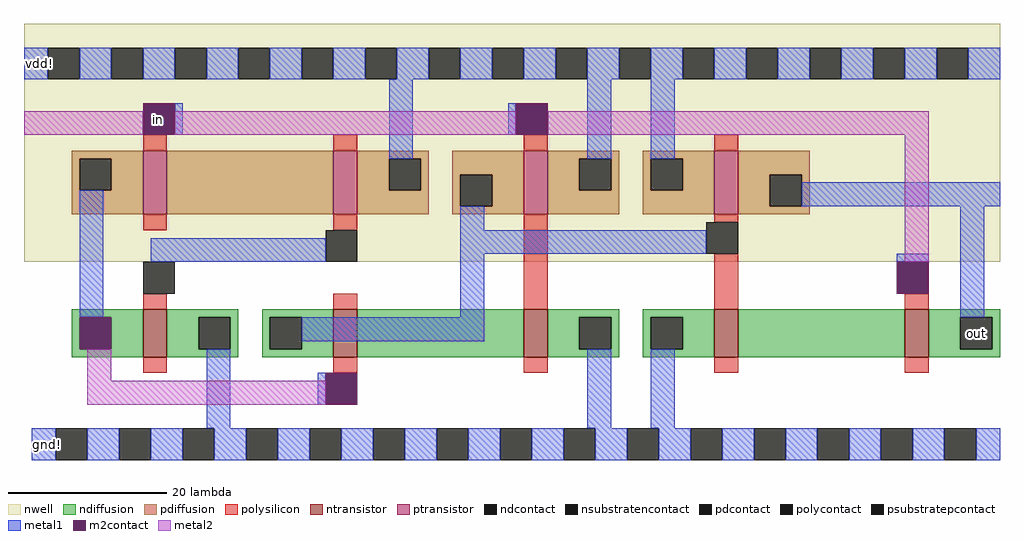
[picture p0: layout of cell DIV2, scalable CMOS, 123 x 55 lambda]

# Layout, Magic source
magic
tech scmos
<< nwell >>
rect -11 -3 112 27
<< ntransistor >>
rect 4 -15 7 -9
rect 28 -15 31 -9
rect 52 -15 55 -9
rect 76 -15 79 -9
rect 100 -15 103 -9
<< ptransistor >>
rect 4 3 7 11
rect 28 3 31 11
rect 52 3 55 11
rect 76 3 79 11
<< ndiffusion >>
rect -5 -10 4 -9
rect -5 -14 -4 -10
rect 0 -14 4 -10
rect -5 -15 4 -14
rect 7 -10 16 -9
rect 7 -14 11 -10
rect 15 -14 16 -10
rect 7 -15 16 -14
rect 19 -10 28 -9
rect 19 -14 20 -10
rect 24 -14 28 -10
rect 19 -15 28 -14
rect 31 -15 52 -9
rect 55 -10 64 -9
rect 55 -14 59 -10
rect 63 -14 64 -10
rect 55 -15 64 -14
rect 67 -10 76 -9
rect 67 -14 68 -10
rect 72 -14 76 -10
rect 67 -15 76 -14
rect 79 -15 100 -9
rect 103 -10 112 -9
rect 103 -14 107 -10
rect 111 -14 112 -10
rect 103 -15 112 -14
<< pdiffusion >>
rect -5 10 4 11
rect -5 6 -4 10
rect 0 6 4 10
rect -5 3 4 6
rect 7 3 28 11
rect 31 10 40 11
rect 31 6 35 10
rect 39 6 40 10
rect 31 3 40 6
rect 43 8 52 11
rect 43 4 44 8
rect 48 4 52 8
rect 43 3 52 4
rect 55 10 64 11
rect 55 6 59 10
rect 63 6 64 10
rect 55 3 64 6
rect 67 10 76 11
rect 67 6 68 10
rect 72 6 76 10
rect 67 3 76 6
rect 79 8 88 11
rect 79 4 83 8
rect 87 4 88 8
rect 79 3 88 4
<< ndcontact >>
rect -4 -14 0 -10
rect 11 -14 15 -10
rect 20 -14 24 -10
rect 59 -14 63 -10
rect 68 -14 72 -10
rect 107 -14 111 -10
<< pdcontact >>
rect -4 6 0 10
rect 35 6 39 10
rect 44 4 48 8
rect 59 6 63 10
rect 68 6 72 10
rect 83 4 87 8
<< psubstratepcontact >>
rect -7 -28 -3 -24
rect 1 -28 5 -24
rect 9 -28 13 -24
rect 17 -28 21 -24
rect 25 -28 29 -24
rect 33 -28 37 -24
rect 41 -28 45 -24
rect 49 -28 53 -24
rect 57 -28 61 -24
rect 65 -28 69 -24
rect 73 -28 77 -24
rect 81 -28 85 -24
rect 89 -28 93 -24
rect 97 -28 101 -24
rect 105 -28 109 -24
<< nsubstratencontact >>
rect -8 20 -4 24
rect 0 20 4 24
rect 8 20 12 24
rect 16 20 20 24
rect 24 20 28 24
rect 32 20 36 24
rect 40 20 44 24
rect 48 20 52 24
rect 56 20 60 24
rect 64 20 68 24
rect 72 20 76 24
rect 80 20 84 24
rect 88 20 92 24
rect 96 20 100 24
rect 104 20 108 24
<< polysilicon >>
rect 4 11 7 13
rect 28 11 31 13
rect 52 11 55 13
rect 76 11 79 13
rect 4 1 7 3
rect 28 1 31 3
rect 4 -9 7 -7
rect 28 -9 31 -7
rect 52 -9 55 3
rect 76 2 79 3
rect 76 -9 79 -2
rect 100 -9 103 -7
rect 4 -17 7 -15
rect 28 -17 31 -15
rect 52 -17 55 -15
rect 76 -17 79 -15
rect 100 -17 103 -15
<< polycontact >>
rect 4 13 8 17
rect 51 13 55 17
rect 27 -3 31 1
rect 4 -7 8 -3
rect 75 -2 79 2
rect 99 -7 103 -3
rect 27 -21 31 -17
<< metal1 >>
rect -11 20 -8 24
rect -4 20 0 24
rect 4 20 8 24
rect 12 20 16 24
rect 20 20 24 24
rect 28 20 32 24
rect 36 20 40 24
rect 44 20 48 24
rect 52 20 56 24
rect 60 20 64 24
rect 68 20 72 24
rect 76 20 80 24
rect 84 20 88 24
rect 92 20 96 24
rect 100 20 104 24
rect 108 20 112 24
rect 8 13 9 17
rect 35 10 38 20
rect 50 13 51 17
rect 60 10 63 20
rect -4 -10 -1 6
rect 68 10 71 20
rect 87 4 112 7
rect 44 1 47 4
rect 5 -3 27 0
rect 44 -2 75 1
rect 44 -10 47 -2
rect 99 -3 103 -2
rect 107 -10 110 4
rect 24 -13 47 -10
rect 12 -24 15 -14
rect 26 -21 27 -17
rect 60 -24 63 -14
rect 68 -24 71 -14
rect -10 -28 -7 -24
rect -3 -28 1 -24
rect 5 -28 9 -24
rect 13 -28 17 -24
rect 21 -28 25 -24
rect 29 -28 33 -24
rect 37 -28 41 -24
rect 45 -28 49 -24
rect 53 -28 57 -24
rect 61 -28 65 -24
rect 69 -28 73 -24
rect 77 -28 81 -24
rect 85 -28 89 -24
rect 93 -28 97 -24
rect 101 -28 105 -24
rect 109 -28 112 -24
<< m2contact >>
rect 4 13 8 17
rect 51 13 55 17
rect 99 -7 103 -3
rect -4 -14 0 -10
rect 27 -21 31 -17
<< metal2 >>
rect -11 13 4 16
rect 8 13 51 16
rect 55 13 103 16
rect 100 -3 103 13
rect -3 -18 0 -14
rect -3 -21 27 -18
<< labels >>
rlabel m2contact 6 15 6 15 1 in
rlabel ndcontact 109 -12 109 -12 7 out
rlabel metal1 -9 22 -9 22 4 vdd!
rlabel metal1 -8 -26 -8 -26 2 gnd!
<< end >>
